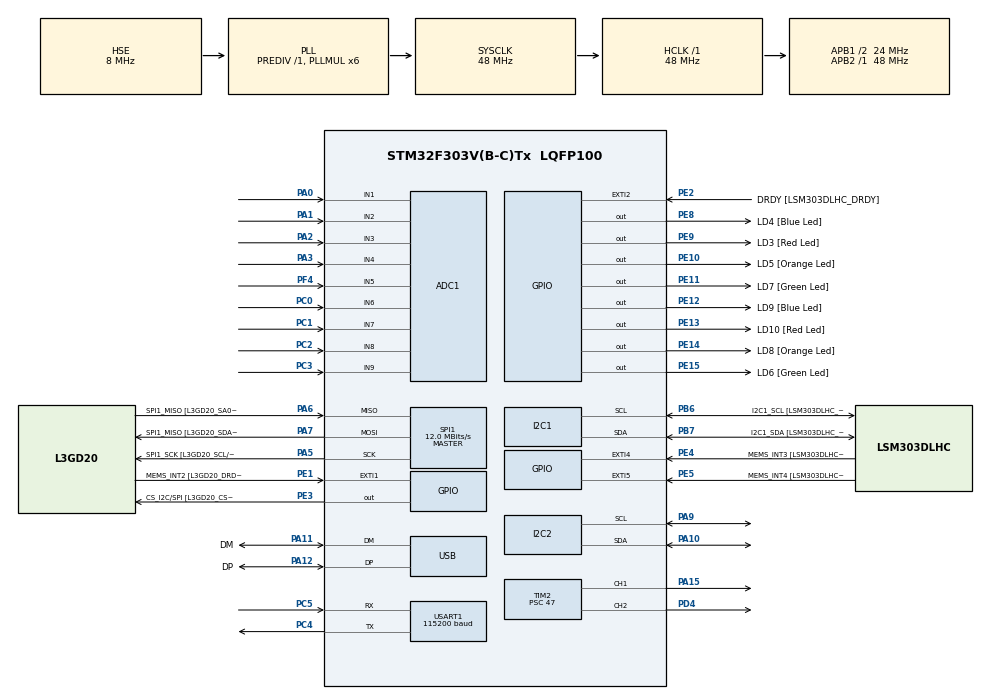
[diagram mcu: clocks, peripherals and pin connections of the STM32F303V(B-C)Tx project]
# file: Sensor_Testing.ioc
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ADC1.Channel-0\#ChannelRegularConversion=ADC_CHANNEL_1
ADC1.NbrOfConversionFlag=1
ADC1.Offset-0\#ChannelRegularConversion=0
ADC1.OffsetNumber-0\#ChannelRegularConversion=ADC_OFFSET_NONE
ADC1.Rank-0\#ChannelRegularConversion=1
ADC1.SamplingTime-0\#ChannelRegularConversion=ADC_SAMPLETIME_1CYCLE_5
ADC1.master=1
I2C1.Timing=0x00201D2B
I2C1.Timing-I2C=0x2000090E
I2C2.Timing=0x00201D2B
Mcu.Family=STM32F3
Mcu.Name=STM32F303V(B-C)Tx
Mcu.Package=LQFP100
NVIC.I2C1_EV_IRQn=true\:0\:0\:false\:false\:true\:true\:true\:true
NVIC.I2C2_EV_IRQn=true\:0\:0\:false\:false\:true\:true\:true\:true
NVIC.PriorityGroup=NVIC_PRIORITYGROUP_0
NVIC.USART1_IRQn=true\:0\:0\:false\:false\:true\:true\:true\:true
PA0.Mode=IN1-Single-Ended
PA0.Signal=ADC1_IN1
PA1.Mode=IN2-Single-Ended
PA1.Signal=ADC1_IN2
PA10.Mode=I2C
PA10.Signal=I2C2_SDA
PA11.GPIO_Label=DM
PA11.Mode=Device
PA11.Signal=USB_DM
PA12.GPIO_Label=DP
PA12.Mode=Device
PA12.Signal=USB_DP
PA13.GPIO_Label=SWDIO
PA13.Mode=Serial_Wire
PA13.Signal=SYS_JTMS-SWDIO
PA14.GPIO_Label=SWCLK
PA14.Mode=Serial_Wire
PA14.Signal=SYS_JTCK-SWCLK
PA15.Signal=S_TIM2_CH1_ETR
PA2.Mode=IN3-Single-Ended
PA2.Signal=ADC1_IN3
PA3.Mode=IN4-Single-Ended
PA3.Signal=ADC1_IN4
PA5.GPIO_Label=SPI1_SCK [L3GD20_SCL/SPC]
PA5.Mode=Full_Duplex_Master
PA5.Signal=SPI1_SCK
PA6.GPIO_Label=SPI1_MISO [L3GD20_SA0/SDO]
PA6.Mode=Full_Duplex_Master
PA6.Signal=SPI1_MISO
PA7.GPIO_Label=SPI1_MISO [L3GD20_SDA/SDI/SDO]
PA7.Mode=Full_Duplex_Master
PA7.Signal=SPI1_MOSI
PA9.Mode=I2C
PA9.Signal=I2C2_SCL
PB3.GPIO_Label=SWO
PB3.Signal=SYS_JTDO-TRACESWO
PB6.GPIO_Label=I2C1_SCL [LSM303DLHC_SCL]
PB6.GPIO_Pu=GPIO_PULLUP
PB6.Mode=I2C
PB6.Signal=I2C1_SCL
PB7.GPIO_Label=I2C1_SDA [LSM303DLHC_SDA]
PB7.GPIO_Pu=GPIO_PULLUP
PB7.Mode=I2C
PB7.Signal=I2C1_SDA
PC0.Signal=ADCx_IN6
PC1.Signal=ADCx_IN7
PC14-OSC32_IN.GPIO_Label=OSC32_IN
PC14-OSC32_IN.Signal=RCC_OSC32_IN
PC15-OSC32_OUT.GPIO_Label=OSC32_OUT
PC15-OSC32_OUT.Signal=RCC_OSC32_OUT
PC2.Signal=ADCx_IN8
PC3.Signal=ADCx_IN9
PC4.Mode=Asynchronous
PC4.Signal=USART1_TX
PC5.Mode=Asynchronous
PC5.Signal=USART1_RX
PD4.Signal=S_TIM2_CH2
PE1.GPIO_Label=MEMS_INT2 [L3GD20_DRDY/INT2]
PE1.GPIO_ModeDefaultEXTI=GPIO_MODE_EVT_RISING
PE1.Signal=GPXTI1
PE10.GPIO_Label=LD5 [Orange Led]
PE10.Signal=GPIO_Output
PE11.GPIO_Label=LD7 [Green Led]
PE11.Signal=GPIO_Output
PE12.GPIO_Label=LD9 [Blue Led]
PE12.Signal=GPIO_Output
PE13.GPIO_Label=LD10 [Red Led]
PE13.Signal=GPIO_Output
PE14.GPIO_Label=LD8 [Orange Led]
PE14.Signal=GPIO_Output
PE15.GPIO_Label=LD6 [Green Led]
PE15.Signal=GPIO_Output
PE2.GPIO_Label=DRDY [LSM303DLHC_DRDY]
PE2.GPIO_ModeDefaultEXTI=GPIO_MODE_EVT_RISING
PE2.Signal=GPXTI2
PE3.GPIO_Label=CS_I2C/SPI [L3GD20_CS_I2C/SPI]
PE3.Signal=GPIO_Output
PE4.GPIO_Label=MEMS_INT3 [LSM303DLHC_INT1]
PE4.GPIO_ModeDefaultEXTI=GPIO_MODE_EVT_RISING
PE4.Signal=GPXTI4
PE5.GPIO_Label=MEMS_INT4 [LSM303DLHC_INT2]
PE5.GPIO_ModeDefaultEXTI=GPIO_MODE_EVT_RISING
PE5.Signal=GPXTI5
PE8.GPIO_Label=LD4 [Blue Led]
PE8.Signal=GPIO_Output
PE9.GPIO_Label=LD3 [Red Led]
PE9.Signal=GPIO_Output
PF0-OSC_IN.GPIO_Label=OSC_IN
PF0-OSC_IN.Mode=HSE-External-Clock-Source
PF0-OSC_IN.Signal=RCC_OSC_IN
PF1-OSC_OUT.GPIO_Label=OSC_OUT
PF1-OSC_OUT.Signal=RCC_OSC_OUT
PF4.Mode=IN5-Single-Ended
PF4.Signal=ADC1_IN5
ProjectManager.HeapSize=0x200
ProjectManager.StackSize=0x400
ProjectManager.TargetToolchain=CMake
RCC.AHBFreq_Value=48000000
RCC.APB1CLKDivider=RCC_HCLK_DIV2
RCC.APB1Freq_Value=24000000
RCC.APB1TimFreq_Value=48000000
RCC.APB2Freq_Value=48000000
RCC.APB2TimFreq_Value=48000000
RCC.CortexFreq_Value=48000000
RCC.HCLKFreq_Value=48000000
RCC.HSE_VALUE=8000000
RCC.HSI_VALUE=8000000
RCC.LSE_VALUE=32768
RCC.PLLMUL=RCC_PLL_MUL6
RCC.SYSCLKFreq_VALUE=48000000
RCC.SYSCLKSourceVirtual=RCC_SYSCLKSOURCE_PLLCLK
RCC.USBFreq_Value=48000000
SH.ADCx_IN6.0=ADC1_IN6,IN6-Single-Ended
SH.ADCx_IN7.0=ADC1_IN7,IN7-Single-Ended
SH.ADCx_IN8.0=ADC1_IN8,IN8-Single-Ended
SH.ADCx_IN9.0=ADC1_IN9,IN9-Single-Ended
SH.S_TIM2_CH1_ETR.0=TIM2_CH1,PWM Generation1 CH1
SH.S_TIM2_CH2.0=TIM2_CH2,PWM Generation2 CH2
SPI1.BaudRatePrescaler=SPI_BAUDRATEPRESCALER_4
SPI1.BaudRatePrescaler-Full_Duplex_Master=SPI_BAUDRATEPRESCALER_2
SPI1.CalculateBaudRate=12.0 MBits/s
SPI1.CalculateBaudRate-Full_Duplex_Master=24.0 MBits/s
SPI1.Direction=SPI_DIRECTION_2LINES
SPI1.Mode=SPI_MODE_MASTER
SPI1.Mode-Full_Duplex_Master=SPI_MODE_MASTER
SPI1.VirtualType=VM_MASTER
TIM2.Channel-PWM\ Generation1\ CH1=TIM_CHANNEL_1
TIM2.Channel-PWM\ Generation2\ CH2=TIM_CHANNEL_2
TIM2.Period=19999
TIM2.Prescaler=47
USART1.BaudRate=115200
USART1.VirtualMode-Asynchronous=VM_ASYNC
VP_TIM2_VS_ClockSourceINT.Mode=Internal
board=STM32F3DISCOVERY

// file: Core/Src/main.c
/* USER CODE BEGIN Header */
/**
  ******************************************************************************
  * @file           : main.c
  * @brief          : Main program body
  ******************************************************************************
  * @attention
  *

  * Copyright (c) 2026 STMicroelectronics.
  * All rights reserved.
  *
  * This software is licensed under terms that can be found in the LICENSE file
  * in the root directory of this software component.
  * If no LICENSE file comes with this software, it is provided AS-IS.
  *
  ******************************************************************************
  */
/* USER CODE END Header */
#include "main.h"

/* USER CODE BEGIN Includes */
#include <stdio.h>
#include <string.h>
#include "servo.h"
/* USER CODE END Includes */

ADC_HandleTypeDef hadc1;

I2C_HandleTypeDef hi2c1;
I2C_HandleTypeDef hi2c2;

SPI_HandleTypeDef hspi1;

TIM_HandleTypeDef htim2;

UART_HandleTypeDef huart1;

PCD_HandleTypeDef hpcd_USB_FS;

/* USER CODE BEGIN PV */
Servo_t servo1;  /* Servo on TIM2 CH1 (PA15) */
/* USER CODE END PV */

void SystemClock_Config(void);
static void MX_GPIO_Init(void);
static void MX_I2C1_Init(void);
static void MX_SPI1_Init(void);
static void MX_USART1_UART_Init(void);
static void MX_USB_PCD_Init(void);
static void MX_I2C2_Init(void);
static void MX_ADC1_Init(void);
static void MX_TIM2_Init(void);

int main(void)
{

  /* MCU Configuration--------------------------------------------------------*/

  /* Reset of all peripherals, Initializes the Flash interface and the Systick. */
  HAL_Init();

  /* Configure the system clock */
  SystemClock_Config();

  /* Initialize all configured peripherals */
  MX_GPIO_Init();
  MX_I2C1_Init();
  MX_SPI1_Init();
  MX_USART1_UART_Init();
  MX_USB_PCD_Init();
  MX_I2C2_Init();
  MX_ADC1_Init();
  MX_TIM2_Init();
  /* USER CODE BEGIN 2 */
  // TIM2 CH1 (PA15) configured at 1MHz tick, 50Hz period (see MX_TIM2_Init)
  servo1.htim    = &htim2;
  servo1.channel = TIM_CHANNEL_1;
  Servo_Init(&servo1, 90); // Start at 90 degrees (centre)
  /* USER CODE END 2 */

  /* Infinite loop */
  while (1)
  {

    /* USER CODE BEGIN 3 */
    // Sweep from 0 to 180 degrees using the servo driver
    for (uint8_t deg = 0; deg <= 180; deg += 2)
    {
      Servo_SetAngle(&servo1, deg);
      HAL_Delay(15); // 15ms per step for smooth movement
    }

    // Sweep back from 180 to 0 degrees
    for (uint8_t deg = 180; deg > 0; deg -= 2)
    {
      Servo_SetAngle(&servo1, deg);
      HAL_Delay(15);
    }
    Servo_SetAngle(&servo1, 0); // Ensure we reach 0
  }
  /* USER CODE END 3 */
}

void SystemClock_Config(void)
{
  RCC_OscInitTypeDef RCC_OscInitStruct = {0};
  RCC_ClkInitTypeDef RCC_ClkInitStruct = {0};
  RCC_PeriphCLKInitTypeDef PeriphClkInit = {0};

  /** Initializes the RCC Oscillators according to the specified parameters
  * in the RCC_OscInitTypeDef structure.
  */
  RCC_OscInitStruct.OscillatorType = RCC_OSCILLATORTYPE_HSI|RCC_OSCILLATORTYPE_HSE;
  RCC_OscInitStruct.HSEState = RCC_HSE_BYPASS;
  RCC_OscInitStruct.HSEPredivValue = RCC_HSE_PREDIV_DIV1;
  RCC_OscInitStruct.HSIState = RCC_HSI_ON;
  RCC_OscInitStruct.HSICalibrationValue = RCC_HSICALIBRATION_DEFAULT;
  RCC_OscInitStruct.PLL.PLLState = RCC_PLL_ON;
  RCC_OscInitStruct.PLL.PLLSource = RCC_PLLSOURCE_HSE;
  RCC_OscInitStruct.PLL.PLLMUL = RCC_PLL_MUL6;
  if (HAL_RCC_OscConfig(&RCC_OscInitStruct) != HAL_OK)
  {
    Error_Handler();
  }

  /** Initializes the CPU, AHB and APB buses clocks
  */
  RCC_ClkInitStruct.ClockType = RCC_CLOCKTYPE_HCLK|RCC_CLOCKTYPE_SYSCLK
                              |RCC_CLOCKTYPE_PCLK1|RCC_CLOCKTYPE_PCLK2;
  RCC_ClkInitStruct.SYSCLKSource = RCC_SYSCLKSOURCE_PLLCLK;
  RCC_ClkInitStruct.AHBCLKDivider = RCC_SYSCLK_DIV1;
  RCC_ClkInitStruct.APB1CLKDivider = RCC_HCLK_DIV2;
  RCC_ClkInitStruct.APB2CLKDivider = RCC_HCLK_DIV1;

  if (HAL_RCC_ClockConfig(&RCC_ClkInitStruct, FLASH_LATENCY_1) != HAL_OK)
  {
    Error_Handler();
  }
  PeriphClkInit.PeriphClockSelection = RCC_PERIPHCLK_USB|RCC_PERIPHCLK_USART1
                              |RCC_PERIPHCLK_I2C1|RCC_PERIPHCLK_I2C2
                              |RCC_PERIPHCLK_ADC12;
  PeriphClkInit.Usart1ClockSelection = RCC_USART1CLKSOURCE_PCLK2;
  PeriphClkInit.Adc12ClockSelection = RCC_ADC12PLLCLK_DIV1;
  PeriphClkInit.I2c1ClockSelection = RCC_I2C1CLKSOURCE_HSI;
  PeriphClkInit.I2c2ClockSelection = RCC_I2C2CLKSOURCE_HSI;
  PeriphClkInit.USBClockSelection = RCC_USBCLKSOURCE_PLL;
  if (HAL_RCCEx_PeriphCLKConfig(&PeriphClkInit) != HAL_OK)
  {
    Error_Handler();
  }
}

static void MX_ADC1_Init(void)
{

  ADC_MultiModeTypeDef multimode = {0};
  ADC_ChannelConfTypeDef sConfig = {0};

  /* USER CODE BEGIN ADC1_Init 1 */
  __HAL_RCC_ADC12_CLK_ENABLE();
  /* USER CODE END ADC1_Init 1 */

  /** Common config
  */
  hadc1.Instance = ADC1;
  hadc1.Init.ClockPrescaler = ADC_CLOCK_ASYNC_DIV1;
  hadc1.Init.Resolution = ADC_RESOLUTION_12B;
  hadc1.Init.ScanConvMode = ADC_SCAN_DISABLE;
  hadc1.Init.ContinuousConvMode = DISABLE;
  hadc1.Init.DiscontinuousConvMode = DISABLE;
  hadc1.Init.ExternalTrigConvEdge = ADC_EXTERNALTRIGCONVEDGE_NONE;
  hadc1.Init.ExternalTrigConv = ADC_SOFTWARE_START;
  hadc1.Init.DataAlign = ADC_DATAALIGN_RIGHT;
  hadc1.Init.NbrOfConversion = 1;
  hadc1.Init.DMAContinuousRequests = DISABLE;
  hadc1.Init.EOCSelection = ADC_EOC_SINGLE_CONV;
  hadc1.Init.LowPowerAutoWait = DISABLE;
  hadc1.Init.Overrun = ADC_OVR_DATA_OVERWRITTEN;
  if (HAL_ADC_Init(&hadc1) != HAL_OK)
  {
    Error_Handler();
  }

  /** Configure the ADC multi-mode
  */
  multimode.Mode = ADC_MODE_INDEPENDENT;
  if (HAL_ADCEx_MultiModeConfigChannel(&hadc1, &multimode) != HAL_OK)
  {
    Error_Handler();
  }

  /** Configure Regular Channel
  */
  sConfig.Channel = ADC_CHANNEL_1;
  sConfig.Rank = ADC_REGULAR_RANK_1;
  sConfig.SingleDiff = ADC_SINGLE_ENDED;
  sConfig.SamplingTime = ADC_SAMPLETIME_1CYCLE_5;
  sConfig.OffsetNumber = ADC_OFFSET_NONE;
  sConfig.Offset = 0;
  if (HAL_ADC_ConfigChannel(&hadc1, &sConfig) != HAL_OK)
  {
    Error_Handler();
  }

}

static void MX_I2C1_Init(void)
{

  hi2c1.Instance = I2C1;
  hi2c1.Init.Timing = 0x00201D2B;
  hi2c1.Init.OwnAddress1 = 0;
  hi2c1.Init.AddressingMode = I2C_ADDRESSINGMODE_7BIT;
  hi2c1.Init.DualAddressMode = I2C_DUALADDRESS_DISABLE;
  hi2c1.Init.OwnAddress2 = 0;
  hi2c1.Init.OwnAddress2Masks = I2C_OA2_NOMASK;
  hi2c1.Init.GeneralCallMode = I2C_GENERALCALL_DISABLE;
  hi2c1.Init.NoStretchMode = I2C_NOSTRETCH_DISABLE;
  if (HAL_I2C_Init(&hi2c1) != HAL_OK)
  {
    Error_Handler();
  }

  /** Configure Analogue filter
  */
  if (HAL_I2CEx_ConfigAnalogFilter(&hi2c1, I2C_ANALOGFILTER_ENABLE) != HAL_OK)
  {
    Error_Handler();
  }

  /** Configure Digital filter
  */
  if (HAL_I2CEx_ConfigDigitalFilter(&hi2c1, 0) != HAL_OK)
  {
    Error_Handler();
  }

}

static void MX_I2C2_Init(void)
{

  hi2c2.Instance = I2C2;
  hi2c2.Init.Timing = 0x00201D2B;
  hi2c2.Init.OwnAddress1 = 0;
  hi2c2.Init.AddressingMode = I2C_ADDRESSINGMODE_7BIT;
  hi2c2.Init.DualAddressMode = I2C_DUALADDRESS_DISABLE;
  hi2c2.Init.OwnAddress2 = 0;
  hi2c2.Init.OwnAddress2Masks = I2C_OA2_NOMASK;
  hi2c2.Init.GeneralCallMode = I2C_GENERALCALL_DISABLE;
  hi2c2.Init.NoStretchMode = I2C_NOSTRETCH_DISABLE;
  if (HAL_I2C_Init(&hi2c2) != HAL_OK)
  {
    Error_Handler();
  }

  /** Configure Analogue filter
  */
  if (HAL_I2CEx_ConfigAnalogFilter(&hi2c2, I2C_ANALOGFILTER_ENABLE) != HAL_OK)
  {
    Error_Handler();
  }

  /** Configure Digital filter
  */
  if (HAL_I2CEx_ConfigDigitalFilter(&hi2c2, 0) != HAL_OK)
  {
    Error_Handler();
  }

}

static void MX_SPI1_Init(void)
{

  /* SPI1 parameter configuration*/
  hspi1.Instance = SPI1;
  hspi1.Init.Mode = SPI_MODE_MASTER;
  hspi1.Init.Direction = SPI_DIRECTION_2LINES;
  hspi1.Init.DataSize = SPI_DATASIZE_4BIT;
  hspi1.Init.CLKPolarity = SPI_POLARITY_LOW;
  hspi1.Init.CLKPhase = SPI_PHASE_1EDGE;
  hspi1.Init.NSS = SPI_NSS_SOFT;
  hspi1.Init.BaudRatePrescaler = SPI_BAUDRATEPRESCALER_4;
  hspi1.Init.FirstBit = SPI_FIRSTBIT_MSB;
  hspi1.Init.TIMode = SPI_TIMODE_DISABLE;
  hspi1.Init.CRCCalculation = SPI_CRCCALCULATION_DISABLE;
  hspi1.Init.CRCPolynomial = 7;
  hspi1.Init.CRCLength = SPI_CRC_LENGTH_DATASIZE;
  hspi1.Init.NSSPMode = SPI_NSS_PULSE_ENABLE;
  if (HAL_SPI_Init(&hspi1) != HAL_OK)
  {
    Error_Handler();
  }

}

static void MX_TIM2_Init(void)
{

  TIM_ClockConfigTypeDef sClockSourceConfig = {0};
  TIM_MasterConfigTypeDef sMasterConfig = {0};
  TIM_OC_InitTypeDef sConfigOC = {0};

  htim2.Instance = TIM2;
  // Prescaler = 47 -> TIM2 tick = 48MHz / (47+1) = 1MHz (1us per tick)
  // Period = 19999 -> 20ms period = 50Hz PWM (standard servo frequency)
  htim2.Init.Prescaler = 47;
  htim2.Init.CounterMode = TIM_COUNTERMODE_UP;
  htim2.Init.Period = 19999;
  htim2.Init.ClockDivision = TIM_CLOCKDIVISION_DIV1;
  htim2.Init.AutoReloadPreload = TIM_AUTORELOAD_PRELOAD_DISABLE;
  if (HAL_TIM_Base_Init(&htim2) != HAL_OK)
  {
    Error_Handler();
  }
  sClockSourceConfig.ClockSource = TIM_CLOCKSOURCE_INTERNAL;
  if (HAL_TIM_ConfigClockSource(&htim2, &sClockSourceConfig) != HAL_OK)
  {
    Error_Handler();
  }
  if (HAL_TIM_PWM_Init(&htim2) != HAL_OK)
  {
    Error_Handler();
  }
  sMasterConfig.MasterOutputTrigger = TIM_TRGO_RESET;
  sMasterConfig.MasterSlaveMode = TIM_MASTERSLAVEMODE_DISABLE;
  if (HAL_TIMEx_MasterConfigSynchronization(&htim2, &sMasterConfig) != HAL_OK)
  {
    Error_Handler();
  }
  sConfigOC.OCMode = TIM_OCMODE_PWM1;
  sConfigOC.Pulse = 0;
  sConfigOC.OCPolarity = TIM_OCPOLARITY_HIGH;
  sConfigOC.OCFastMode = TIM_OCFAST_DISABLE;
  if (HAL_TIM_PWM_ConfigChannel(&htim2, &sConfigOC, TIM_CHANNEL_1) != HAL_OK)
  {
    Error_Handler();
  }
  if (HAL_TIM_PWM_ConfigChannel(&htim2, &sConfigOC, TIM_CHANNEL_2) != HAL_OK)
  {
    Error_Handler();
  }
  HAL_TIM_MspPostInit(&htim2);

}

static void MX_USART1_UART_Init(void)
{

  huart1.Instance = USART1;
  huart1.Init.BaudRate = 115200;
  huart1.Init.WordLength = UART_WORDLENGTH_8B;
  huart1.Init.StopBits = UART_STOPBITS_1;
  huart1.Init.Parity = UART_PARITY_NONE;
  huart1.Init.Mode = UART_MODE_TX_RX;
  huart1.Init.HwFlowCtl = UART_HWCONTROL_NONE;
  huart1.Init.OverSampling = UART_OVERSAMPLING_16;
  huart1.Init.OneBitSampling = UART_ONE_BIT_SAMPLE_DISABLE;
  huart1.AdvancedInit.AdvFeatureInit = UART_ADVFEATURE_NO_INIT;
  if (HAL_UART_Init(&huart1) != HAL_OK)
  {
    Error_Handler();
  }

}

static void MX_USB_PCD_Init(void)
{

  hpcd_USB_FS.Instance = USB;
  hpcd_USB_FS.Init.dev_endpoints = 8;
  hpcd_USB_FS.Init.speed = PCD_SPEED_FULL;
  hpcd_USB_FS.Init.phy_itface = PCD_PHY_EMBEDDED;
  hpcd_USB_FS.Init.low_power_enable = DISABLE;
  hpcd_USB_FS.Init.battery_charging_enable = DISABLE;
  if (HAL_PCD_Init(&hpcd_USB_FS) != HAL_OK)
  {
    Error_Handler();
  }

}

static void MX_GPIO_Init(void)
{
  GPIO_InitTypeDef GPIO_InitStruct = {0};

  /* GPIO Ports Clock Enable */
  __HAL_RCC_GPIOE_CLK_ENABLE();
  __HAL_RCC_GPIOC_CLK_ENABLE();
  __HAL_RCC_GPIOF_CLK_ENABLE();
  __HAL_RCC_GPIOA_CLK_ENABLE();
  __HAL_RCC_GPIOD_CLK_ENABLE();
  __HAL_RCC_GPIOB_CLK_ENABLE();

  /*Configure GPIO pin Output Level */
  HAL_GPIO_WritePin(GPIOE, CS_I2C_SPI_Pin|LD4_Pin|LD3_Pin|LD5_Pin
                          |LD7_Pin|LD9_Pin|LD10_Pin|LD8_Pin
                          |LD6_Pin, GPIO_PIN_RESET);

  /*Configure GPIO pins : DRDY_Pin MEMS_INT3_Pin MEMS_INT4_Pin MEMS_INT2_Pin */
  GPIO_InitStruct.Pin = DRDY_Pin|MEMS_INT3_Pin|MEMS_INT4_Pin|MEMS_INT2_Pin;
  GPIO_InitStruct.Mode = GPIO_MODE_EVT_RISING;
  GPIO_InitStruct.Pull = GPIO_NOPULL;
  HAL_GPIO_Init(GPIOE, &GPIO_InitStruct);

  /*Configure GPIO pins : CS_I2C_SPI_Pin LD4_Pin LD3_Pin LD5_Pin
                           LD7_Pin LD9_Pin LD10_Pin LD8_Pin
                           LD6_Pin */
  GPIO_InitStruct.Pin = CS_I2C_SPI_Pin|LD4_Pin|LD3_Pin|LD5_Pin
                          |LD7_Pin|LD9_Pin|LD10_Pin|LD8_Pin
                          |LD6_Pin;
  GPIO_InitStruct.Mode = GPIO_MODE_OUTPUT_PP;
  GPIO_InitStruct.Pull = GPIO_NOPULL;
  GPIO_InitStruct.Speed = GPIO_SPEED_FREQ_LOW;
  HAL_GPIO_Init(GPIOE, &GPIO_InitStruct);

  /* USER CODE BEGIN MX_GPIO_Init_2 */
  /* Configure PA0, PA1, PA2, PA3 as Analog */
  GPIO_InitStruct.Pin = GPIO_PIN_0 | GPIO_PIN_1 | GPIO_PIN_2 | GPIO_PIN_3;
  GPIO_InitStruct.Mode = GPIO_MODE_ANALOG;
  GPIO_InitStruct.Pull = GPIO_NOPULL;
  HAL_GPIO_Init(GPIOA, &GPIO_InitStruct);

  /* Configure PC0, PC1, PC2, PC3 as Analog */
  GPIO_InitStruct.Pin = GPIO_PIN_0 | GPIO_PIN_1 | GPIO_PIN_2 | GPIO_PIN_3;
  GPIO_InitStruct.Mode = GPIO_MODE_ANALOG;
  GPIO_InitStruct.Pull = GPIO_NOPULL;
  HAL_GPIO_Init(GPIOC, &GPIO_InitStruct);
  /* USER CODE END MX_GPIO_Init_2 */
}

void Error_Handler(void)
{
  __disable_irq();
  while (1)
  {
  }
}
